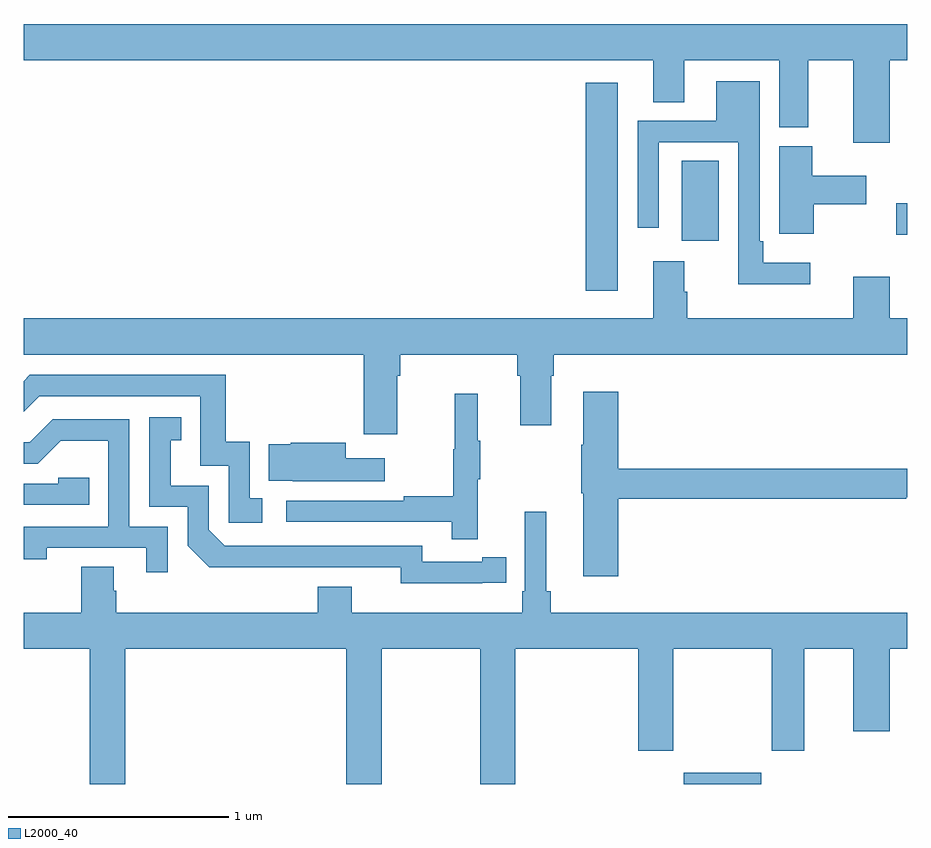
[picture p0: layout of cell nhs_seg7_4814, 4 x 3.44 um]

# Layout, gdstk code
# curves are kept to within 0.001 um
import gdstk
lib = gdstk.Library(unit=1e-6, precision=1e-09)
def R(c, l, rs):  # rectangles x0, y0, x1, y1
    for r in rs: c.add(gdstk.rectangle(r[:2], r[2:], *l))
def P(c, l, *ps):  # polygons
    for p in ps: c.add(gdstk.Polygon(p, *l))
L2000_40 = (2000, 40)

nhs_seg7_4814 = lib.new_cell('nhs_seg7_4814')
R(nhs_seg7_4814, L2000_40, [(415.988,1004,416.338,1004.05), (415.544,1006.233,415.69,1007.173), (415.979,1006.458,416.146,1006.82), (416.949,1006.486,417,1006.628)])
P(nhs_seg7_4814, L2000_40, [(416.92,1007.276),(417,1007.276),(417,1007.44),(413,1007.44),(413,1007.276),(415.85,1007.276),(415.85,1007.086),(415.99,1007.086),(415.99,1007.276),(416.42,1007.276),(416.42,1006.972),(416.551,1006.972),(416.551,1007.276),(416.756,1007.276),(416.756,1006.902),(416.92,1006.902)],
  [(416.56,1006.36),(416.347,1006.36),(416.347,1006.456),(416.331,1006.456),(416.331,1007.182),(416.135,1007.182),(416.135,1007.001),(415.779,1007.001),(415.779,1006.518),(415.875,1006.518),(415.875,1006.905),(416.235,1006.905),(416.235,1006.262),(416.56,1006.262)],
  [(416.577,1006.624),(416.815,1006.624),(416.815,1006.753),(416.569,1006.753),(416.569,1006.887),(416.42,1006.887),(416.42,1006.603),(416.421,1006.603),(416.421,1006.491),(416.577,1006.491)],
  [(414.691,1005.848),(414.704,1005.848),(414.704,1005.944),(415.235,1005.944),(415.235,1005.848),(415.247,1005.848),(415.247,1005.624),(415.387,1005.624),(415.387,1005.848),(415.4,1005.848),(415.4,1005.944),(417,1005.944),(417,1006.108),(416.92,1006.108),(416.92,1006.297),(416.756,1006.297),(416.756,1006.108),(416.003,1006.108),(416.003,1006.229),(415.99,1006.229),(415.99,1006.366),(415.85,1006.366),(415.85,1006.108),(413,1006.108),(413,1005.944),(414.539,1005.944),(414.539,1005.582),(414.691,1005.582)],
  [(414.079,1005.294),(414.024,1005.294),(414.024,1005.55),(413.915,1005.55),(413.915,1005.852),(413.028,1005.852),(413,1005.824),(413,1005.686),(413.07,1005.756),(413.799,1005.756),(413.799,1005.441),(413.928,1005.441),(413.928,1005.183),(414.079,1005.183)],
  [(415.691,1005.292),(416.996,1005.292),(416.996,1005.299),(417,1005.299),(417,1005.428),(415.691,1005.428),(415.691,1005.775),(415.532,1005.775),(415.532,1005.536),(415.525,1005.536),(415.525,1005.315),(415.532,1005.315),(415.532,1004.94),(415.691,1004.94)],
  [(415.055,1005.379),(415.066,1005.379),(415.066,1005.553),(415.055,1005.553),(415.055,1005.766),(414.952,1005.766),(414.952,1005.516),(414.945,1005.516),(414.945,1005.302),(414.721,1005.302),(414.721,1005.282),(414.189,1005.282),(414.189,1005.186),(414.937,1005.186),(414.937,1005.108),(415.055,1005.108)],
  [(415.076,1004.91),(415.184,1004.91),(415.184,1005.026),(415.076,1005.026),(415.076,1005.006),(414.804,1005.006),(414.804,1005.078),(413.91,1005.078),(413.838,1005.15),(413.838,1005.351),(413.665,1005.351),(413.665,1005.555),(413.714,1005.555),(413.714,1005.661),(413.568,1005.661),(413.568,1005.255),(413.742,1005.255),(413.742,1005.078),(413.84,1004.981),(414.708,1004.982),(414.708,1004.909)],
  [(413.652,1005.165),(413.478,1005.165),(413.478,1005.651),(413.132,1005.651),(413.027,1005.546),(413,1005.546),(413,1005.45),(413.064,1005.45),(413.168,1005.554),(413.382,1005.554),(413.382,1005.165),(413,1005.165),(413,1005.018),(413.104,1005.018),(413.104,1005.069),(413.555,1005.069),(413.555,1004.958),(413.652,1004.958)],
  [(414.634,1005.475),(414.457,1005.475),(414.457,1005.544),(414.21,1005.544),(414.21,1005.537),(414.109,1005.537),(414.109,1005.373),(414.217,1005.373),(414.217,1005.371),(414.634,1005.371)],
  [(413.297,1005.387),(413.157,1005.387),(413.157,1005.36),(413,1005.36),(413,1005.264),(413.297,1005.264)],
  [(413.459,1004.612),(414.461,1004.612),(414.461,1004),(414.621,1004),(414.621,1004.612),(415.066,1004.612),(415.066,1004),(415.226,1004),(415.226,1004.612),(415.781,1004.612),(415.781,1004.151),(415.941,1004.151),(415.941,1004.612),(416.386,1004.612),(416.386,1004.151),(416.533,1004.151),(416.533,1004.612),(416.756,1004.612),(416.756,1004.238),(416.92,1004.238),(416.92,1004.612),(417,1004.612),(417,1004.776),(415.385,1004.776),(415.385,1004.872),(415.366,1004.872),(415.366,1005.232),(415.269,1005.232),(415.269,1004.872),(415.256,1004.872),(415.256,1004.776),(414.484,1004.776),(414.484,1004.893),(414.332,1004.893),(414.332,1004.776),(413.42,1004.776),(413.42,1004.874),(413.407,1004.874),(413.407,1004.984),(413.26,1004.984),(413.26,1004.776),(413,1004.776),(413,1004.612),(413.299,1004.612),(413.299,1004),(413.459,1004)])

lib.write_gds('nhs_seg7_4814.gds')
